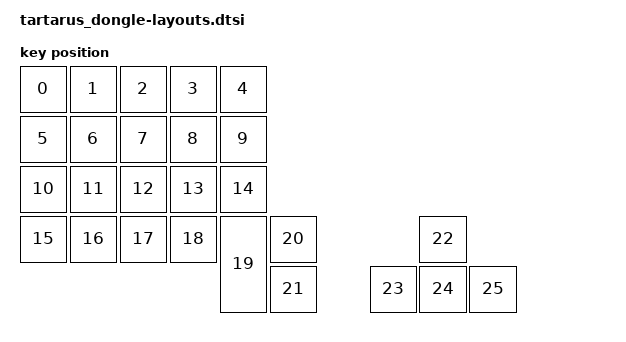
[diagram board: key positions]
/*
 * Copyright (c) 2026 Chris Dietz
 * GPL-2.0-or-later
 */

#include <physical_layouts.dtsi>

/ {
    physical_layout0: physical_layout_0 {
        compatible = "zmk,physical-layout";
        display-name = "LAYOUT";

        kscan = <&mock_kscan>;
        transform = <&matrix_transform0>;

        keys  //                    w    h     x     y      rot     rx     ry
            = <&key_physical_attrs 100 100     0     0       0      0      0>
            , <&key_physical_attrs 100 100   100     0       0      0      0>
            , <&key_physical_attrs 100 100   200     0       0      0      0>
            , <&key_physical_attrs 100 100   300     0       0      0      0>
            , <&key_physical_attrs 100 100   400     0       0      0      0>
            , <&key_physical_attrs 100 100     0   100       0      0      0>
            , <&key_physical_attrs 100 100   100   100       0      0      0>
            , <&key_physical_attrs 100 100   200   100       0      0      0>
            , <&key_physical_attrs 100 100   300   100       0      0      0>
            , <&key_physical_attrs 100 100   400   100       0      0      0>
            , <&key_physical_attrs 100 100     0   200       0      0      0>
            , <&key_physical_attrs 100 100   100   200       0      0      0>
            , <&key_physical_attrs 100 100   200   200       0      0      0>
            , <&key_physical_attrs 100 100   300   200       0      0      0>
            , <&key_physical_attrs 100 100   400   200       0      0      0>
            , <&key_physical_attrs 100 100     0   300       0      0      0>
            , <&key_physical_attrs 100 100   100   300       0      0      0>
            , <&key_physical_attrs 100 100   200   300       0      0      0>
            , <&key_physical_attrs 100 100   300   300       0      0      0>
            , <&key_physical_attrs 100 200   400   300       0      0      0>
            , <&key_physical_attrs 100 100   500   300       0      0      0>
            , <&key_physical_attrs 100 100   500   400       0      0      0>
            , <&key_physical_attrs 100 100   800   300       0      0      0>
            , <&key_physical_attrs 100 100   700   400       0      0      0>
            , <&key_physical_attrs 100 100   800   400       0      0      0>
            , <&key_physical_attrs 100 100   900   400       0      0      0>
            ;
    };
};
